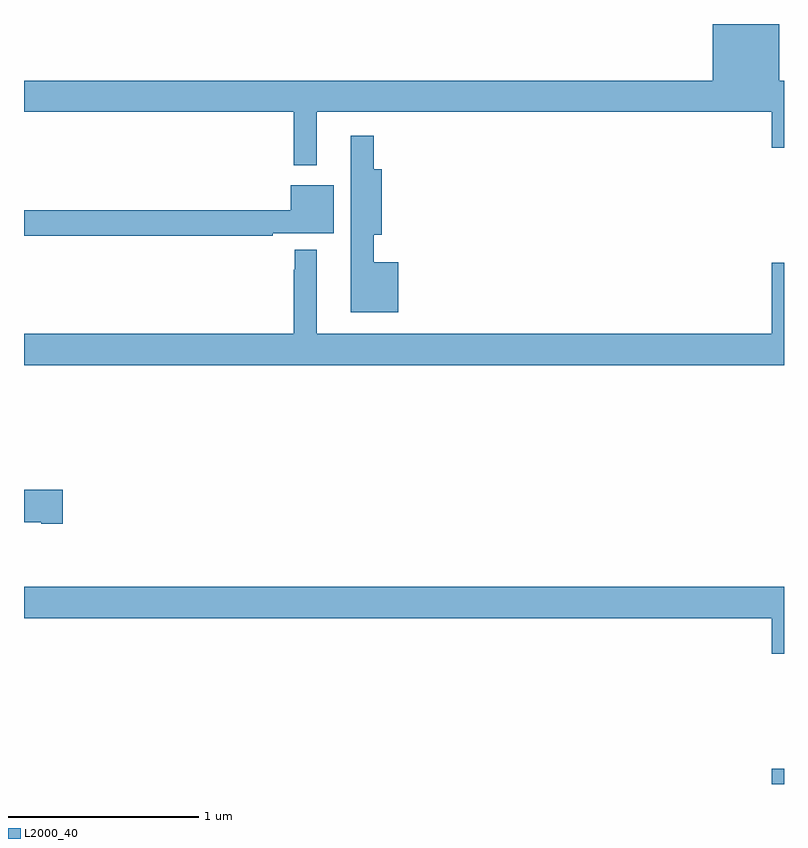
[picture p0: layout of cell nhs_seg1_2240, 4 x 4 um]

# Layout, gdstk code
import gdstk
lib = gdstk.Library(unit=1e-6, precision=1e-09)
def R(c, l, rs):  # rectangles x0, y0, x1, y1
    for r in rs: c.add(gdstk.rectangle(r[:2], r[2:], *l))
def P(c, l, *ps):  # polygons
    for p in ps: c.add(gdstk.Polygon(p, *l))
L2000_40 = (2000, 40)

nhs_seg1_2240 = lib.new_cell('nhs_seg1_2240')
R(nhs_seg1_2240, L2000_40, [(236.936,544.199,237,544.279)])
P(nhs_seg1_2240, L2000_40, [(234.541,547.736),(236.936,547.736),(236.936,547.548),(237,547.548),(237,547.9),(236.974,547.9),(236.974,548.199),(236.624,548.199),(236.624,547.9),(233,547.9),(233,547.736),(234.42,547.736),(234.42,547.455),(234.541,547.455)],
  [(234.97,546.946),(234.841,546.946),(234.841,547.091),(234.883,547.091),(234.883,547.435),(234.841,547.435),(234.841,547.612),(234.719,547.612),(234.719,546.683),(234.97,546.683)],
  [(234.308,547.097),(234.631,547.097),(234.631,547.351),(234.404,547.351),(234.404,547.22),(233,547.22),(233,547.084),(234.308,547.084)],
  [(237,546.943),(236.936,546.943),(236.936,546.568),(234.541,546.568),(234.541,547.012),(234.426,547.012),(234.426,546.905),(234.42,546.905),(234.42,546.568),(233,546.568),(233,546.404),(237,546.404)],
  [(233.203,545.747),(233,545.747),(233,545.576),(233.09,545.576),(233.09,545.569),(233.203,545.569)],
  [(237,545.236),(233,545.236),(233,545.072),(236.936,545.072),(236.936,544.884),(237,544.884)])

lib.write_gds('nhs_seg1_2240.gds')
